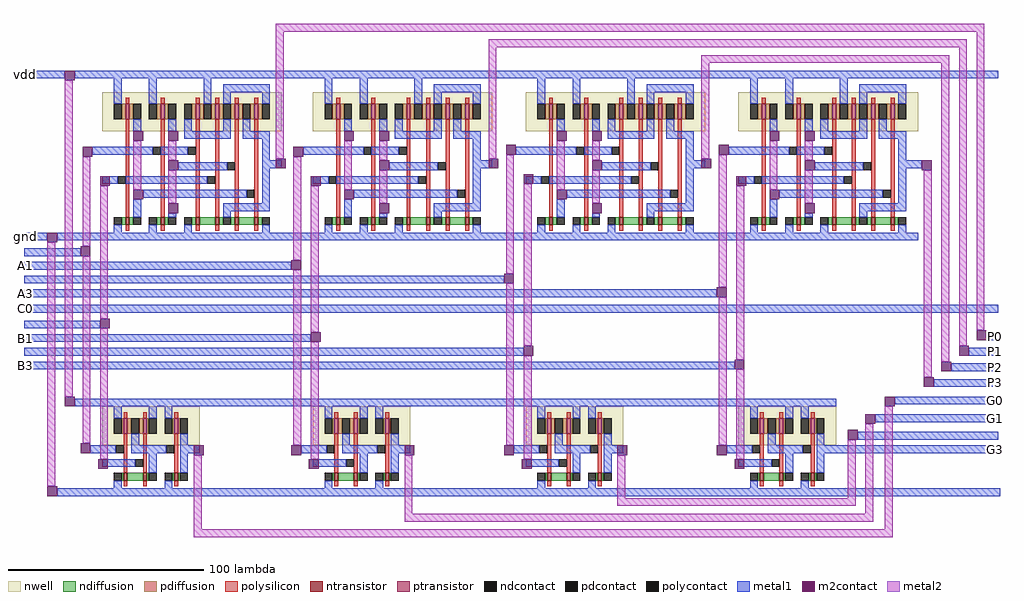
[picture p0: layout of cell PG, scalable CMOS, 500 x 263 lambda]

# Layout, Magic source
magic
tech scmos
<< metal1 >>
rect -39 83 -18 87
rect -13 83 460 87
rect -4 44 9 48
rect 104 44 111 48
rect 213 44 221 48
rect 322 44 327 48
rect 412 37 421 41
rect -39 0 -27 4
rect -22 0 90 4
rect 92 0 198 4
rect 201 0 414 4
rect -39 -8 -10 -4
rect -39 -15 98 -11
rect -39 -22 207 -18
rect -39 -29 316 -25
rect -39 -37 460 -33
rect -39 -45 0 -41
rect -39 -52 108 -48
rect 454 -51 460 -47
rect -39 -59 217 -55
rect 445 -59 460 -55
rect -39 -66 325 -62
rect 436 -67 460 -63
rect 427 -75 460 -71
rect -13 -85 6 -81
rect 51 -85 109 -81
rect 159 -85 222 -81
rect 264 -85 330 -81
rect 373 -85 374 -81
rect 407 -84 460 -80
rect 397 -93 460 -89
rect 388 -102 460 -98
rect -5 -109 6 -105
rect 103 -109 116 -105
rect 212 -109 225 -105
rect 321 -109 331 -105
rect 370 -109 460 -105
rect 5 -116 7 -112
rect -22 -131 6 -127
rect 51 -131 109 -127
rect 159 -131 222 -127
rect 263 -131 264 -127
rect 265 -131 334 -127
rect 370 -131 461 -127
<< m2contact >>
rect -18 82 -13 87
rect -9 43 -4 48
rect 99 43 104 48
rect 208 44 213 49
rect 317 44 322 49
rect 90 37 95 42
rect 199 37 204 42
rect 308 37 313 42
rect 421 36 426 41
rect 0 28 5 33
rect 108 28 113 33
rect 217 29 222 34
rect 326 28 331 33
rect -27 -1 -22 4
rect -10 -8 -5 -3
rect 98 -15 103 -10
rect 207 -22 212 -17
rect 316 -29 321 -24
rect 0 -45 5 -40
rect 108 -52 113 -47
rect 449 -51 454 -46
rect 217 -59 222 -54
rect 440 -59 445 -54
rect 325 -66 330 -61
rect 431 -67 436 -62
rect 422 -75 427 -70
rect -18 -85 -13 -80
rect 402 -85 407 -80
rect 392 -94 397 -89
rect 383 -102 388 -97
rect -10 -109 -5 -104
rect 48 -110 53 -105
rect 98 -110 103 -105
rect 156 -110 161 -105
rect 207 -110 212 -105
rect 265 -110 270 -105
rect 316 -110 321 -105
rect -1 -117 4 -112
rect 107 -117 112 -112
rect 216 -117 221 -112
rect 325 -117 330 -112
rect -27 -131 -22 -126
<< metal2 >>
rect 90 107 453 111
rect -27 -126 -23 -1
rect -18 -80 -14 82
rect -9 -3 -5 43
rect 90 42 94 107
rect 199 99 444 103
rect -9 -104 -5 -8
rect 0 -40 4 28
rect 99 -10 103 43
rect 199 42 203 99
rect 308 91 435 95
rect 0 -112 4 -45
rect 99 -105 103 -15
rect 108 -47 112 28
rect 208 -17 212 44
rect 308 42 312 91
rect 48 -148 52 -110
rect 108 -112 112 -52
rect 208 -105 212 -22
rect 217 -54 221 29
rect 317 -24 321 44
rect 156 -140 160 -110
rect 217 -112 221 -59
rect 317 -105 321 -29
rect 326 -61 330 28
rect 265 -132 269 -110
rect 326 -112 330 -66
rect 422 -70 426 36
rect 431 -62 435 91
rect 440 -54 444 99
rect 449 -46 453 107
rect 383 -132 387 -102
rect 265 -136 387 -132
rect 392 -140 396 -94
rect 156 -144 396 -140
rect 402 -148 406 -85
rect 48 -152 406 -148
use xor  xor_0
transform 1 0 36 0 1 56
box -35 -56 57 31
use xor  xor_1
transform 1 0 144 0 1 56
box -35 -56 57 31
use xor  xor_2
transform 1 0 253 0 1 56
box -35 -56 57 31
use xor  xor_3
transform 1 0 362 0 1 56
box -35 -56 57 31
use and  and_0
transform 1 0 1 0 1 -108
box 0 -23 50 27
use and  and_1
transform 1 0 109 0 1 -108
box 0 -23 50 27
use and  and_2
transform 1 0 218 0 1 -108
box 0 -23 50 27
use and  and_3
transform 1 0 327 0 1 -108
box 0 -23 50 27
<< labels >>
rlabel metal1 -39 83 -37 87 1 vdd
rlabel metal1 -39 0 -37 4 3 gnd
rlabel metal1 -39 -29 -37 -25 3 A3
rlabel metal1 -39 -22 -37 -18 3 A2
rlabel metal1 -39 -15 -37 -11 3 A1
rlabel metal1 -39 -8 -37 -4 3 A0
rlabel metal1 -39 -66 -37 -62 2 B3
rlabel metal1 -39 -59 -37 -55 3 B2
rlabel metal1 -39 -52 -37 -48 3 B1
rlabel metal1 -39 -45 -37 -41 3 B0
rlabel metal1 -39 -37 -37 -33 3 C0
rlabel metal1 457 -109 460 -105 7 G3
rlabel metal1 457 -93 460 -89 7 G1
rlabel metal1 457 -102 460 -98 7 G2
rlabel metal1 457 -84 460 -80 7 G0
rlabel metal1 457 -75 460 -71 3 P3
rlabel metal1 457 -67 460 -63 7 P2
rlabel metal1 457 -59 460 -55 7 P1
rlabel metal1 457 -51 460 -47 7 P0
<< end >>

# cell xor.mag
magic
tech scmos
<< nwell >>
rect -35 0 57 20
<< ntransistor >>
rect -23 -48 -21 -44
rect -5 -48 -3 -44
rect 13 -48 15 -44
rect 23 -48 25 -44
rect 33 -48 35 -44
rect 43 -48 45 -44
<< ptransistor >>
rect -23 6 -21 14
rect -5 6 -3 14
rect 13 6 15 14
rect 23 6 25 14
rect 33 6 35 14
rect 43 6 45 14
<< ndiffusion >>
rect -25 -48 -23 -44
rect -21 -48 -19 -44
rect -7 -48 -5 -44
rect -3 -48 -1 -44
rect 11 -48 13 -44
rect 15 -48 23 -44
rect 25 -48 27 -44
rect 31 -48 33 -44
rect 35 -48 43 -44
rect 45 -48 47 -44
<< pdiffusion >>
rect -25 6 -23 14
rect -21 6 -19 14
rect -7 6 -5 14
rect -3 6 -1 14
rect 11 6 13 14
rect 15 6 17 14
rect 21 6 23 14
rect 25 6 27 14
rect 31 6 33 14
rect 35 6 37 14
rect 41 6 43 14
rect 45 6 47 14
<< ndcontact >>
rect -29 -48 -25 -44
rect -19 -48 -15 -44
rect -11 -48 -7 -44
rect -1 -48 3 -44
rect 7 -48 11 -44
rect 27 -48 31 -44
rect 47 -48 51 -44
<< pdcontact >>
rect -29 6 -25 14
rect -19 6 -15 14
rect -11 6 -7 14
rect -1 6 3 14
rect 7 6 11 14
rect 17 6 21 14
rect 27 6 31 14
rect 37 6 41 14
rect 47 6 51 14
<< polysilicon >>
rect -23 14 -21 17
rect -5 14 -3 17
rect 13 14 15 17
rect 23 14 25 17
rect 33 14 35 17
rect 43 14 45 17
rect -23 -44 -21 6
rect -5 -44 -3 6
rect 13 -44 15 6
rect 23 -44 25 6
rect 33 -44 35 6
rect 43 -44 45 6
rect -23 -51 -21 -48
rect -5 -51 -3 -48
rect 13 -51 15 -48
rect 23 -51 25 -48
rect 33 -51 35 -48
rect 43 -51 45 -48
<< polycontact >>
rect -27 -27 -23 -23
rect -9 -12 -5 -8
rect 9 -12 13 -8
rect 19 -27 23 -23
rect 29 -20 33 -16
rect 39 -34 43 -30
<< metal1 >>
rect -35 27 57 31
rect -29 14 -25 27
rect -11 14 -7 27
rect 17 14 21 27
rect -19 0 -15 6
rect -1 0 3 6
rect 27 20 51 24
rect 27 14 31 20
rect 47 14 51 20
rect 7 0 11 6
rect 27 0 31 6
rect 7 -4 31 0
rect 37 0 41 6
rect 37 -4 51 0
rect -35 -12 -9 -8
rect -5 -12 9 -8
rect 47 -15 51 -4
rect 4 -20 29 -16
rect 47 -19 57 -15
rect -35 -27 -27 -23
rect -23 -27 19 -23
rect -14 -34 39 -30
rect -19 -44 -15 -35
rect 47 -37 51 -19
rect 27 -41 51 -37
rect -1 -44 3 -42
rect 27 -44 31 -41
rect -29 -52 -25 -48
rect -11 -52 -7 -48
rect 7 -52 11 -48
rect 47 -52 51 -48
rect -35 -56 57 -52
<< m2contact >>
rect -19 -5 -14 0
rect -1 -5 4 0
rect -1 -20 4 -15
rect -19 -35 -14 -30
rect -1 -42 4 -37
<< metal2 >>
rect -19 -30 -15 -5
rect -1 -15 3 -5
rect -1 -37 3 -20
<< labels >>
rlabel metal1 28 -18 28 -18 1 Abar
rlabel metal1 2 29 2 29 4 vdd
rlabel metal1 -27 -10 -27 -10 1 A
rlabel metal1 -28 -25 -28 -25 1 B
rlabel metal1 3 -55 3 -55 2 gnd
rlabel metal1 37 -32 37 -32 1 Bbar
rlabel metal1 54 -17 54 -17 7 AxorB
<< end >>

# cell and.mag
magic
tech scmos
<< nwell >>
rect 0 3 50 23
<< ntransistor >>
rect 11 -15 13 -11
rect 21 -15 23 -11
rect 37 -15 39 -11
<< ptransistor >>
rect 11 9 13 17
rect 21 9 23 17
rect 37 9 39 17
<< ndiffusion >>
rect 10 -15 11 -11
rect 13 -15 21 -11
rect 23 -15 24 -11
rect 36 -15 37 -11
rect 39 -15 40 -11
<< pdiffusion >>
rect 10 9 11 17
rect 13 9 15 17
rect 19 9 21 17
rect 23 9 24 17
rect 36 9 37 17
rect 39 9 40 17
<< ndcontact >>
rect 6 -15 10 -11
rect 24 -15 28 -11
rect 32 -15 36 -11
rect 40 -15 44 -11
<< pdcontact >>
rect 6 9 10 17
rect 15 9 19 17
rect 24 9 28 17
rect 32 9 36 17
rect 40 9 44 17
<< polysilicon >>
rect 11 17 13 20
rect 21 17 23 20
rect 37 17 39 20
rect 11 -11 13 9
rect 21 -11 23 9
rect 37 -11 39 9
rect 11 -18 13 -15
rect 21 -18 23 -15
rect 37 -18 39 -15
<< polycontact >>
rect 7 -1 11 3
rect 17 -8 21 -4
rect 33 -1 37 3
<< metal1 >>
rect 0 23 50 27
rect 6 17 10 23
rect 24 17 28 23
rect 32 17 36 23
rect 15 3 19 9
rect 40 3 44 9
rect 0 -1 7 3
rect 15 -1 33 3
rect 40 -1 50 3
rect 0 -8 17 -4
rect 24 -11 28 -1
rect 40 -11 44 -1
rect 6 -19 10 -15
rect 32 -19 36 -15
rect 0 -23 50 -19
<< labels >>
rlabel metal1 1 25 1 25 4 vdd
rlabel metal1 16 -6 16 -6 1 B
rlabel metal1 6 1 6 1 1 A
rlabel metal1 1 -21 1 -21 2 gnd
rlabel metal1 46 0 46 0 7 andout
<< end >>
